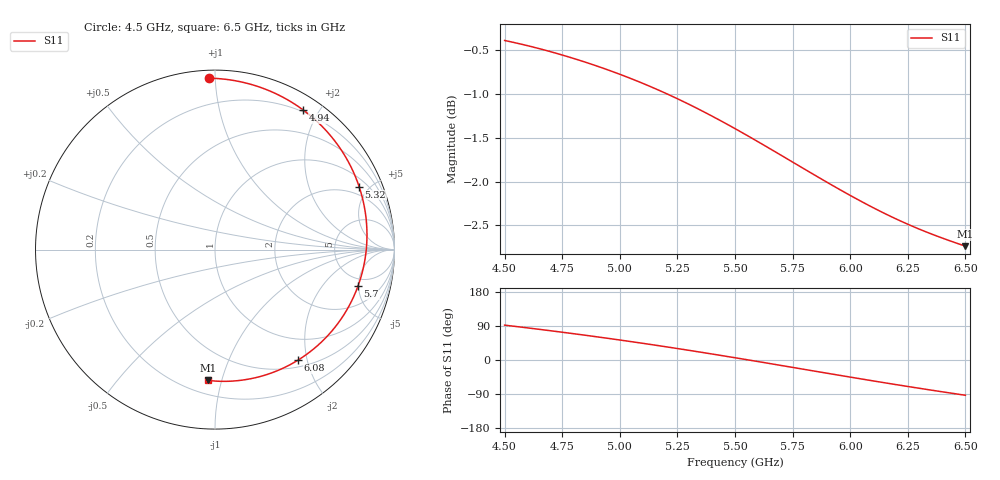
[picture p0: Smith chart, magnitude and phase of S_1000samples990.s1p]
! TOUCHSTONE file generated by CST MICROWAVE STUDIO
! Date and time: Sun Oct 30 00:40:41 2022
! Project name: L.cst
! Parameters = {Di=1.27; Epsilon_r=1.56; InnerDiameter=1.27; Length=2; Lf=10; Lg=60; OuterConductorThickness=0.2921; OuterDiameter=3.6; Wf=3; Wp=41.2; de=1.5; df=6.8; g=0.8; gx=1.44819; gy=3.78134; h=2.34; hf=1.524; px=8.05625; py=10.3502; w=9.7; wx=6.60806; wy=6.56881}
! Header version: 2018
! Port assignment regex: !\s*Touchstone port\s*([0-9]+)\s*=\s*(CST MWS port|CST DS port)\s*([0-9]+|Zmin|Zmax)\s*\(\"(.*)\"\)(\s*mode\s*([0-9]+))?.*
! Touchstone port assignment:
! Touchstone port 1 = CST MWS port 1 ("")
# GHz S DB R 50
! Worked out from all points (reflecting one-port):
!   101 points, 4.5 GHz to 6.5 GHz, reference 50 ohm
!   lowest |S11| = -2.7 dB at 6.5 GHz (marker M1), VSWR 6.40, Z = 14.5 - j45.3 ohm
!   phase of S11 starts at 92 deg and turns -185 deg over the sweep
!   S11 on the Smith chart (normalised r, x): 4.5 GHz: 0.04, +0.97; 4.94 GHz: 0.18, +1.80; 5.32 GHz: 1.43, +4.33; 5.7 GHz: 3.90, -4.91; 6.08 GHz: 0.61, -1.84; 6.5 GHz: 0.29, -0.91
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4.5  -0.39 92.0
4.58  -0.44 86.2
4.64  -0.48 81.7
4.76  -0.57 72.5
4.86  -0.65 64.5
4.94  -0.72 57.9
5  -0.78 52.8
5.06  -0.84 47.5
5.14  -0.93 40.4
5.2  -1.00 34.9
5.26  -1.07 29.3
5.32  -1.15 23.6
5.42  -1.28 13.9
5.5  -1.40 5.9
5.6  -1.55 -4.2
5.7  -1.70 -14.4
5.76  -1.79 -20.5
5.82  -1.89 -26.7
5.88  -1.98 -32.9
5.94  -2.07 -39.0
6  -2.16 -45.1
6.08  -2.27 -53.2
6.16  -2.38 -61.1
6.26  -2.50 -70.8
6.32  -2.56 -76.5
6.38  -2.62 -82.1
6.44  -2.68 -87.6
6.5  -2.74 -93.0
